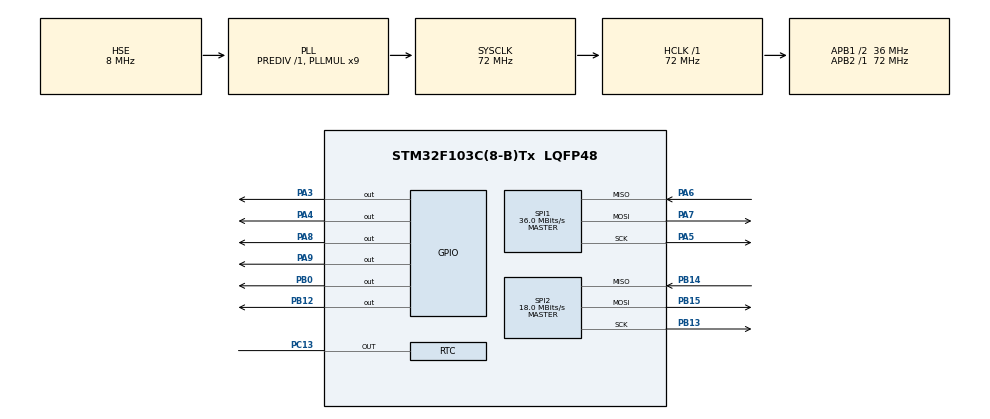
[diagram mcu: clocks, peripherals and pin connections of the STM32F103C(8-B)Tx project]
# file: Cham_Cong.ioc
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Mcu.Family=STM32F1
Mcu.Name=STM32F103C(8-B)Tx
Mcu.Package=LQFP48
NVIC.PriorityGroup=NVIC_PRIORITYGROUP_4
PA13.Mode=Serial_Wire
PA13.Signal=SYS_JTMS-SWDIO
PA14.Mode=Serial_Wire
PA14.Signal=SYS_JTCK-SWCLK
PA3.Signal=GPIO_Output
PA4.Signal=GPIO_Output
PA5.Mode=Full_Duplex_Master
PA5.Signal=SPI1_SCK
PA6.Mode=Full_Duplex_Master
PA6.Signal=SPI1_MISO
PA7.Mode=Full_Duplex_Master
PA7.Signal=SPI1_MOSI
PA8.Signal=GPIO_Output
PA9.Signal=GPIO_Output
PB0.Signal=GPIO_Output
PB12.Signal=GPIO_Output
PB13.Mode=Full_Duplex_Master
PB13.Signal=SPI2_SCK
PB14.Mode=Full_Duplex_Master
PB14.Signal=SPI2_MISO
PB15.Mode=Full_Duplex_Master
PB15.Signal=SPI2_MOSI
PC13-TAMPER-RTC.Mode=RTC OUT
PC13-TAMPER-RTC.Signal=RTC_OUT
PC14-OSC32_IN.Mode=LSE-External-Oscillator
PC14-OSC32_IN.Signal=RCC_OSC32_IN
PC15-OSC32_OUT.Mode=LSE-External-Oscillator
PC15-OSC32_OUT.Signal=RCC_OSC32_OUT
PD0-OSC_IN.Mode=HSE-External-Oscillator
PD0-OSC_IN.Signal=RCC_OSC_IN
PD1-OSC_OUT.Mode=HSE-External-Oscillator
PD1-OSC_OUT.Signal=RCC_OSC_OUT
ProjectManager.HeapSize=0x200
ProjectManager.StackSize=0x400
ProjectManager.TargetToolchain=MDK-ARM V5
RCC.AHBFreq_Value=72000000
RCC.APB1CLKDivider=RCC_HCLK_DIV2
RCC.APB1Freq_Value=36000000
RCC.APB1TimFreq_Value=72000000
RCC.APB2Freq_Value=72000000
RCC.APB2TimFreq_Value=72000000
RCC.HCLKFreq_Value=72000000
RCC.PLLMUL=RCC_PLL_MUL9
RCC.PLLSourceVirtual=RCC_PLLSOURCE_HSE
RCC.SYSCLKFreq_VALUE=72000000
RCC.SYSCLKSource=RCC_SYSCLKSOURCE_PLLCLK
RCC.USBFreq_Value=72000000
SPI1.BaudRatePrescaler=SPI_BAUDRATEPRESCALER_2
SPI1.CalculateBaudRate=36.0 MBits/s
SPI1.Direction=SPI_DIRECTION_2LINES
SPI1.Mode=SPI_MODE_MASTER
SPI1.VirtualType=VM_MASTER
SPI2.BaudRatePrescaler=SPI_BAUDRATEPRESCALER_2
SPI2.CalculateBaudRate=18.0 MBits/s
SPI2.Direction=SPI_DIRECTION_2LINES
SPI2.Mode=SPI_MODE_MASTER
SPI2.VirtualType=VM_MASTER
VP_RTC_VS_RTC_Activate.Mode=RTC_Enabled
VP_RTC_VS_RTC_Calendar.Mode=RTC_Calendar
board=custom

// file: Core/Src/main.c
/* USER CODE BEGIN Header */
/**
  ******************************************************************************
  * @file           : main.c
  * @brief          : Main program body
  ******************************************************************************
  * @attention
  *
  * Copyright (c) 2026 STMicroelectronics.
  * All rights reserved.
  *
  * This software is licensed under terms that can be found in the LICENSE file
  * in the root directory of this software component.
  * If no LICENSE file comes with this software, it is provided AS-IS.
  *
  ******************************************************************************
  */
/* USER CODE END Header */
#include "main.h"

/* USER CODE BEGIN Includes */
#include "st7789.h"
#include "rc522.h"
#include "fonts.h"
#include "string.h"
#include "stdio.h"
/* USER CODE END Includes */

/* USER CODE BEGIN PTD */
typedef struct
{
	uint8_t uid[4];
	char name[30];
	uint16_t count_card_input;
	uint8_t in_out_state;
	char time_in[10];
	char time_out[10];
}Human_Card;

Human_Card list_user[] = {
	{{0x1A,0x01,0x02,0x02}, "Nguyen Minh", 0, 0}, {{0x07,0xF6,0x29,0x07}, "Nguyen Hoc", 0, 0}
};
/* USER CODE END PTD */

/* USER CODE BEGIN PD */
#define ST7789_RST_PORT 			GPIOB
#define ST7789_RST_PIN  			GPIO_PIN_1
#define ST7789_DC_PORT  			GPIOB
#define ST7789_DC_PIN   			GPIO_PIN_0

#define ST7789_CS_PORT  			GPIOA
#define ST7789_CS_PIN   			GPIO_PIN_4
#define FONT_MENU							Font_16x26
#define LETTER_MENU						WHITE
#define BACKGROUND_MENU				BLACK
#define TIME_DATE_FONT				Font_11x18
/* USER CODE END PD */

RTC_HandleTypeDef hrtc;

SPI_HandleTypeDef hspi1;
SPI_HandleTypeDef hspi2;

/* USER CODE BEGIN PV */
uint8_t uid[4];
/* USER CODE END PV */

void SystemClock_Config(void);
static void MX_GPIO_Init(void);
static void MX_SPI1_Init(void);
static void MX_SPI2_Init(void);
static void MX_RTC_Init(void);

/* USER CODE BEGIN 0 */
void Real_Time_Waiting()
{
	RTC_TimeTypeDef realtime;
	RTC_DateTypeDef realdate;

	char time_save[20];
	char date_save[20];

	HAL_RTC_GetTime(&hrtc, &realtime, RTC_FORMAT_BIN);
	HAL_RTC_GetDate(&hrtc, &realdate, RTC_FORMAT_BIN);

	sprintf(time_save, "%02d:%02d:%02d", realtime.Hours, realtime.Minutes, realtime.Seconds);
	sprintf(date_save, "%02d/%02d/20%02d", realdate.Date, realdate.Month, realdate.Year);

	ST7789_WriteString(25, 130, time_save, TIME_DATE_FONT, LETTER_MENU, BACKGROUND_MENU);
	ST7789_WriteString(180, 130, date_save, TIME_DATE_FONT, LETTER_MENU, BACKGROUND_MENU);
}

void Cham_Cong_Menu()
{
	ST7789_WriteString(32, 20,"SMART ATTENDANCE", FONT_MENU, LETTER_MENU, BACKGROUND_MENU);
	ST7789_DrawLine(25, 45, 290, 45, LETTER_MENU);
	ST7789_DrawLine(25, 50, 290, 50, LETTER_MENU);

	ST7789_WriteString(55, 60, "PLEASE SCAN", FONT_MENU, LETTER_MENU, BACKGROUND_MENU);
	ST7789_WriteString(55, 95, " YOUR CARD", FONT_MENU, LETTER_MENU, BACKGROUND_MENU);

	Real_Time_Waiting();
}
int8_t Find_Card(uint8_t *uid)
{
	for(int i = 0; i < 2; i++)
	{
		if(list_user[i].uid[0] == uid[0] && list_user[i].uid[1] == uid[1] && list_user[i].uid[2] == uid[2] && list_user[i].uid[3] == uid[3])
		{
			return i;
		}
	}
	return -1;
}
uint8_t Read_Card(void)
{
	if(MFRC522_Request(PICC_REQIDL, uid) == MI_OK)
	{
		if(MFRC522_Anticoll(uid) == MI_OK)
		{
			return 1;
		}
	}
	return 0;
}
void Infor_Card(int8_t card_input)
{
	list_user[card_input].count_card_input++;
	if(list_user[card_input].in_out_state == 0)
	{
		list_user[card_input].in_out_state = 1;
		ST7789_Fill_Color(BLACK);
		ST7789_WriteString(32, 20,"CHECK IN SUCCESS", FONT_MENU, LETTER_MENU, BACKGROUND_MENU);

		char name_save[30];
		char count_save[10];
		RTC_TimeTypeDef time;
		char time_save[20];
		HAL_RTC_GetTime(&hrtc, &time, RTC_FORMAT_BIN);

		sprintf(name_save, "%s", list_user[card_input].name);
		sprintf(count_save, "%d", list_user[card_input].count_card_input);
		sprintf(time_save, "%02d:%02d:%02d", time.Hours, time.Minutes, time.Seconds);
		sprintf(list_user[card_input].time_in, "%02d:%02d:%02d", time.Hours, time.Minutes, time.Seconds);

		ST7789_WriteString(25, 45, "Name: ", TIME_DATE_FONT, LETTER_MENU, BACKGROUND_MENU);
		ST7789_WriteString(100, 45, name_save, TIME_DATE_FONT, LETTER_MENU, BACKGROUND_MENU);

		ST7789_WriteString(25, 70, "Time in: ", TIME_DATE_FONT, LETTER_MENU, BACKGROUND_MENU);
		ST7789_WriteString(140, 70, list_user[card_input].time_in, TIME_DATE_FONT, LETTER_MENU, BACKGROUND_MENU);

		ST7789_WriteString(25, 95, "Time out: ", TIME_DATE_FONT, LETTER_MENU, BACKGROUND_MENU);
		ST7789_WriteString(140, 95, list_user[card_input].time_out, TIME_DATE_FONT, LETTER_MENU, BACKGROUND_MENU);

		ST7789_WriteString(25, 120, "Trang thai: Da vao", TIME_DATE_FONT, LETTER_MENU, BACKGROUND_MENU);

		ST7789_WriteString(25, 145, "So lan cham cong: ", TIME_DATE_FONT, LETTER_MENU, BACKGROUND_MENU);
		ST7789_WriteString(240, 145, count_save, TIME_DATE_FONT, LETTER_MENU, BACKGROUND_MENU);
	}
	else
	{
		list_user[card_input].in_out_state = 0;
		ST7789_Fill_Color(BLACK);
		ST7789_WriteString(32, 20,"CHECK IN SUCCESS", FONT_MENU, LETTER_MENU, BACKGROUND_MENU);

		char name_save[30];
		char count_save[10];
		RTC_TimeTypeDef time;
		char time_save[20];
		HAL_RTC_GetTime(&hrtc, &time, RTC_FORMAT_BIN);

		sprintf(name_save, "%s", list_user[card_input].name);
		sprintf(count_save, "%d", list_user[card_input].count_card_input);
		sprintf(time_save, "%02d:%02d:%02d", time.Hours, time.Minutes, time.Seconds);
		sprintf(list_user[card_input].time_out, "%02d:%02d:%02d", time.Hours, time.Minutes, time.Seconds);

		ST7789_WriteString(25, 45, "Name: ", TIME_DATE_FONT, LETTER_MENU, BACKGROUND_MENU);
		ST7789_WriteString(100, 45, name_save, TIME_DATE_FONT, LETTER_MENU, BACKGROUND_MENU);

		ST7789_WriteString(25, 70, "Time in: ", TIME_DATE_FONT, LETTER_MENU, BACKGROUND_MENU);
		ST7789_WriteString(140, 70, list_user[card_input].time_in, TIME_DATE_FONT, LETTER_MENU, BACKGROUND_MENU);

		ST7789_WriteString(25, 95, "Time out: ", TIME_DATE_FONT, LETTER_MENU, BACKGROUND_MENU);
		ST7789_WriteString(140, 95, list_user[card_input].time_out, TIME_DATE_FONT, LETTER_MENU, BACKGROUND_MENU);

		ST7789_WriteString(25, 120, "Trang thai: Da ra", TIME_DATE_FONT, LETTER_MENU, BACKGROUND_MENU);

		ST7789_WriteString(25, 145, "So lan cham cong: ", TIME_DATE_FONT, LETTER_MENU, BACKGROUND_MENU);
		ST7789_WriteString(240, 145, count_save, TIME_DATE_FONT, LETTER_MENU, BACKGROUND_MENU);
	}
}
void Not_Worker_In_Company(void)
{
	ST7789_Fill_Color(BLACK);
	ST7789_WriteString(32, 20,"CHECK IN FAILED", FONT_MENU, LETTER_MENU, BACKGROUND_MENU);
	ST7789_DrawLine(25, 45, 290, 45, LETTER_MENU);
	ST7789_DrawLine(25, 50, 290, 50, LETTER_MENU);

	ST7789_WriteString(30, 70,"THE KHONG HOP LE", FONT_MENU, LETTER_MENU, BACKGROUND_MENU);
	ST7789_WriteString(30, 95,"VUI LONG THU LAI", FONT_MENU, LETTER_MENU, BACKGROUND_MENU);
	ST7789_InvertColors(CYAN);
}

void Check_Real_Card()
{
	if(Read_Card())
	{
		int8_t card_check = Find_Card(uid);
		if(card_check >= 0)
		{
			Infor_Card(card_check);
			HAL_Delay(2000);
			ST7789_Fill_Color(BLACK);
			Cham_Cong_Menu();
		}
		else
		{
			Not_Worker_In_Company();
			HAL_Delay(2000);
			ST7789_Fill_Color(BLACK);
			ST7789_InvertColors(RED);
			Cham_Cong_Menu();
		}
	}
}

/* USER CODE END 0 */

int main(void)
{

  /* MCU Configuration--------------------------------------------------------*/

  /* Reset of all peripherals, Initializes the Flash interface and the Systick. */
  HAL_Init();

  /* Configure the system clock */
  SystemClock_Config();

  /* Initialize all configured peripherals */
  MX_GPIO_Init();
  MX_SPI1_Init();
  MX_SPI2_Init();
  MX_RTC_Init();
  /* USER CODE BEGIN 2 */
	ST7789_Fill_Color(BLACK);
	ST7789_Init();
	MFRC522_Init();
	Cham_Cong_Menu();
  /* USER CODE END 2 */

  /* Infinite loop */
  /* USER CODE BEGIN WHILE */
  while (1)
  {
		Real_Time_Waiting();
		Check_Real_Card();
    /* USER CODE END WHILE */

  }
}

void SystemClock_Config(void)
{
  RCC_OscInitTypeDef RCC_OscInitStruct = {0};
  RCC_ClkInitTypeDef RCC_ClkInitStruct = {0};
  RCC_PeriphCLKInitTypeDef PeriphClkInit = {0};

  /** Initializes the RCC Oscillators according to the specified parameters
  * in the RCC_OscInitTypeDef structure.
  */
  RCC_OscInitStruct.OscillatorType = RCC_OSCILLATORTYPE_LSI|RCC_OSCILLATORTYPE_HSE;
  RCC_OscInitStruct.HSEState = RCC_HSE_ON;
  RCC_OscInitStruct.HSEPredivValue = RCC_HSE_PREDIV_DIV1;
  RCC_OscInitStruct.HSIState = RCC_HSI_ON;
  RCC_OscInitStruct.LSIState = RCC_LSI_ON;
  RCC_OscInitStruct.PLL.PLLState = RCC_PLL_ON;
  RCC_OscInitStruct.PLL.PLLSource = RCC_PLLSOURCE_HSE;
  RCC_OscInitStruct.PLL.PLLMUL = RCC_PLL_MUL9;
  if (HAL_RCC_OscConfig(&RCC_OscInitStruct) != HAL_OK)
  {
    Error_Handler();
  }

  /** Initializes the CPU, AHB and APB buses clocks
  */
  RCC_ClkInitStruct.ClockType = RCC_CLOCKTYPE_HCLK|RCC_CLOCKTYPE_SYSCLK
                              |RCC_CLOCKTYPE_PCLK1|RCC_CLOCKTYPE_PCLK2;
  RCC_ClkInitStruct.SYSCLKSource = RCC_SYSCLKSOURCE_PLLCLK;
  RCC_ClkInitStruct.AHBCLKDivider = RCC_SYSCLK_DIV1;
  RCC_ClkInitStruct.APB1CLKDivider = RCC_HCLK_DIV2;
  RCC_ClkInitStruct.APB2CLKDivider = RCC_HCLK_DIV1;

  if (HAL_RCC_ClockConfig(&RCC_ClkInitStruct, FLASH_LATENCY_2) != HAL_OK)
  {
    Error_Handler();
  }
  PeriphClkInit.PeriphClockSelection = RCC_PERIPHCLK_RTC;
  PeriphClkInit.RTCClockSelection = RCC_RTCCLKSOURCE_LSI;
  if (HAL_RCCEx_PeriphCLKConfig(&PeriphClkInit) != HAL_OK)
  {
    Error_Handler();
  }
}

static void MX_RTC_Init(void)
{

  RTC_TimeTypeDef sTime = {0};
  RTC_DateTypeDef DateToUpdate = {0};
  RTC_AlarmTypeDef sAlarm = {0};

  /** Initialize RTC Only
  */
  hrtc.Instance = RTC;
  hrtc.Init.AsynchPrediv = RTC_AUTO_1_SECOND;
  hrtc.Init.OutPut = RTC_OUTPUTSOURCE_ALARM;
  if (HAL_RTC_Init(&hrtc) != HAL_OK)
  {
    Error_Handler();
  }

  /** Initialize RTC and set the Time and Date
  */
  sTime.Hours = 0x15;
  sTime.Minutes = 0x30;
  sTime.Seconds = 0x0;

  if (HAL_RTC_SetTime(&hrtc, &sTime, RTC_FORMAT_BCD) != HAL_OK)
  {
    Error_Handler();
  }
  DateToUpdate.WeekDay = RTC_WEEKDAY_MONDAY;
  DateToUpdate.Month = RTC_MONTH_AUGUST;
  DateToUpdate.Date = 0x12;
  DateToUpdate.Year = 0x26;

  if (HAL_RTC_SetDate(&hrtc, &DateToUpdate, RTC_FORMAT_BCD) != HAL_OK)
  {
    Error_Handler();
  }

  /** Enable the Alarm A
  */
  sAlarm.AlarmTime.Hours = 0x0;
  sAlarm.AlarmTime.Minutes = 0x0;
  sAlarm.AlarmTime.Seconds = 0x0;
  sAlarm.Alarm = RTC_ALARM_A;
  if (HAL_RTC_SetAlarm(&hrtc, &sAlarm, RTC_FORMAT_BCD) != HAL_OK)
  {
    Error_Handler();
  }

}

static void MX_SPI1_Init(void)
{

  /* SPI1 parameter configuration*/
  hspi1.Instance = SPI1;
  hspi1.Init.Mode = SPI_MODE_MASTER;
  hspi1.Init.Direction = SPI_DIRECTION_2LINES;
  hspi1.Init.DataSize = SPI_DATASIZE_8BIT;
  hspi1.Init.CLKPolarity = SPI_POLARITY_LOW;
  hspi1.Init.CLKPhase = SPI_PHASE_1EDGE;
  hspi1.Init.NSS = SPI_NSS_SOFT;
  hspi1.Init.BaudRatePrescaler = SPI_BAUDRATEPRESCALER_2;
  hspi1.Init.FirstBit = SPI_FIRSTBIT_MSB;
  hspi1.Init.TIMode = SPI_TIMODE_DISABLE;
  hspi1.Init.CRCCalculation = SPI_CRCCALCULATION_DISABLE;
  hspi1.Init.CRCPolynomial = 10;
  if (HAL_SPI_Init(&hspi1) != HAL_OK)
  {
    Error_Handler();
  }

}

static void MX_SPI2_Init(void)
{

  /* SPI2 parameter configuration*/
  hspi2.Instance = SPI2;
  hspi2.Init.Mode = SPI_MODE_MASTER;
  hspi2.Init.Direction = SPI_DIRECTION_2LINES;
  hspi2.Init.DataSize = SPI_DATASIZE_8BIT;
  hspi2.Init.CLKPolarity = SPI_POLARITY_LOW;
  hspi2.Init.CLKPhase = SPI_PHASE_1EDGE;
  hspi2.Init.NSS = SPI_NSS_SOFT;
  hspi2.Init.BaudRatePrescaler = SPI_BAUDRATEPRESCALER_2;
  hspi2.Init.FirstBit = SPI_FIRSTBIT_MSB;
  hspi2.Init.TIMode = SPI_TIMODE_DISABLE;
  hspi2.Init.CRCCalculation = SPI_CRCCALCULATION_DISABLE;
  hspi2.Init.CRCPolynomial = 10;
  if (HAL_SPI_Init(&hspi2) != HAL_OK)
  {
    Error_Handler();
  }

}

static void MX_GPIO_Init(void)
{
  GPIO_InitTypeDef GPIO_InitStruct = {0};

  /* GPIO Ports Clock Enable */
  __HAL_RCC_GPIOC_CLK_ENABLE();
  __HAL_RCC_GPIOD_CLK_ENABLE();
  __HAL_RCC_GPIOA_CLK_ENABLE();
  __HAL_RCC_GPIOB_CLK_ENABLE();

  /*Configure GPIO pin Output Level */
  HAL_GPIO_WritePin(GPIOA, GPIO_PIN_3|GPIO_PIN_4|GPIO_PIN_8|GPIO_PIN_9, GPIO_PIN_RESET);

  /*Configure GPIO pin Output Level */
  HAL_GPIO_WritePin(GPIOB, GPIO_PIN_0|GPIO_PIN_12, GPIO_PIN_RESET);

  /*Configure GPIO pins : PA3 PA4 PA8 PA9 */
  GPIO_InitStruct.Pin = GPIO_PIN_3|GPIO_PIN_4|GPIO_PIN_8|GPIO_PIN_9;
  GPIO_InitStruct.Mode = GPIO_MODE_OUTPUT_PP;
  GPIO_InitStruct.Pull = GPIO_NOPULL;
  GPIO_InitStruct.Speed = GPIO_SPEED_FREQ_LOW;
  HAL_GPIO_Init(GPIOA, &GPIO_InitStruct);

  /*Configure GPIO pins : PB0 PB12 */
  GPIO_InitStruct.Pin = GPIO_PIN_0|GPIO_PIN_12;
  GPIO_InitStruct.Mode = GPIO_MODE_OUTPUT_PP;
  GPIO_InitStruct.Pull = GPIO_NOPULL;
  GPIO_InitStruct.Speed = GPIO_SPEED_FREQ_LOW;
  HAL_GPIO_Init(GPIOB, &GPIO_InitStruct);

}

void Error_Handler(void)
{
  __disable_irq();
  while (1)
  {
  }
}
